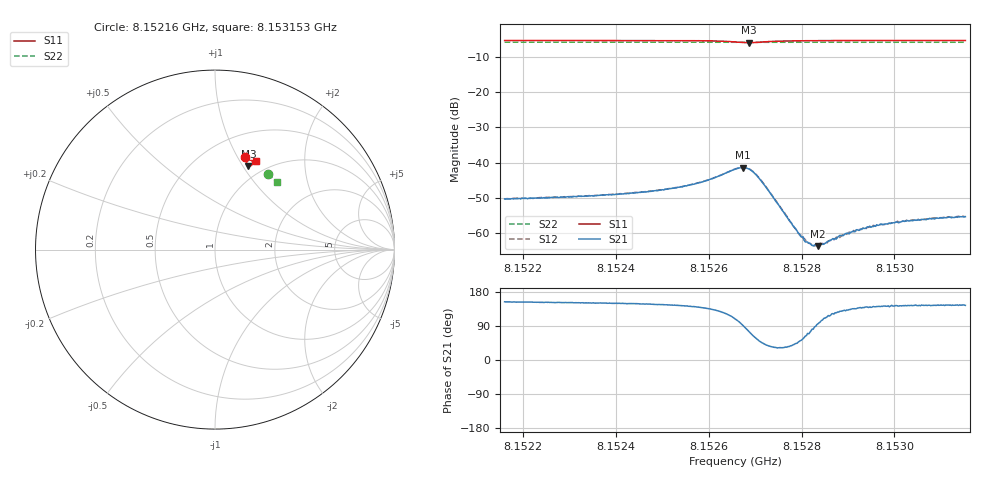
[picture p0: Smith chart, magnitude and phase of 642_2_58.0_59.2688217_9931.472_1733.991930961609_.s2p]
#  HZ  S  RI  R  50.00
! Rohde & Schwarz Vector Network Analyzer
! Rohde-Schwarz,ZNB20-2Port,1311601062101988,3.16
! Created: UTC 3/21/2024, 1:19:05 AM
! freq[Hz]  re:S11  im:S11  re:S21  im:S21  re:S12  im:S12  re:S22  im:S22
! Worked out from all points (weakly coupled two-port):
!   401 points, 8.15216 GHz to 8.153153 GHz, reference 50 ohm
!   highest |S21| = -41.41 dB at 8.152674 GHz (marker M1); lowest = -63.7 dB at 8.152835 GHz (marker M2)
!   lowest |S11| = -6.0 dB at 8.152686 GHz (marker M3), VSWR 3.02, Z = 42.5 + j53 ohm
!   |S11| at or under -10 dB: nowhere
!   |S22| runs from -5.9 to -5.8 dB; largest |S21 - S12| = 0.00017
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8.1521603e9  0.168 0.5138  -0.00273 0.00136  -0.0027 0.00142  0.2948 0.4184
8.1523265e9  0.1805 0.5097  -0.00291 0.00161  -0.0029 0.00168  0.3033 0.4121
8.1524159e9  0.1875 0.5069  -0.00309 0.00184  -0.00308 0.00189  0.3078 0.4085
8.1524928e9  0.1942 0.5037  -0.00338 0.00221  -0.00339 0.00231  0.3118 0.4054
8.1525449e9  0.1997 0.5004  -0.00367 0.00276  -0.00364 0.00284  0.3143 0.4033
8.1525846e9  0.2045 0.4959  -0.00394 0.00351  -0.00394 0.00363  0.3163 0.4015
8.1526565e9  0.2067 0.473  -0.00262 0.00761  -0.00255 0.00768  0.3195 0.3978
8.1526739e9  0.1966 0.4659  -0.000129 0.0085  -4.24e-05 0.00858  0.3199 0.3971
8.1526863e9  0.1861 0.4667  0.00204 0.00787  0.0021 0.00788  0.32 0.3968
8.1526987e9  0.1782 0.4733  0.00346 0.00613  0.00363 0.00619  0.3203 0.3966
8.1527161e9  0.1758 0.4849  0.00368 0.00364  0.0038 0.00365  0.3213 0.3964
8.152798e9  0.1935 0.5004  0.00056 0.000697  0.000618 0.00071  0.326 0.3935
8.1528104e9  0.1955 0.5005  0.000323 0.000673  0.000332 0.000678  0.3265 0.3929
8.1528228e9  0.1971 0.5005  9.74e-05 0.00066  0.000103 0.000654  0.3273 0.3924
8.1528352e9  0.1989 0.5005  -6.11e-05 0.000649  -6.62e-05 0.000667  0.3279 0.3918
8.1528501e9  0.2007 0.5003  -0.00025 0.000667  -0.000261 0.000669  0.3287 0.3913
8.1528823e9  0.2044 0.4997  -0.00058 0.000724  -0.000547 0.000671  0.3303 0.3898
8.1529146e9  0.2076 0.4988  -0.000742 0.00073  -0.000748 0.000749  0.3318 0.3884
8.1529667e9  0.2121 0.4975  -0.00102 0.000804  -0.00101 0.000841  0.3344 0.3862
8.152989e9  0.214 0.4968  -0.00107 0.00088  -0.00109 0.000841  0.3354 0.3853
8.1530858e9  0.2214 0.4941  -0.00128 0.000919  -0.00134 0.000964  0.34 0.3811
8.1531528e9  0.2263 0.4922  -0.00139 0.001  -0.00137 0.00101  0.3431 0.3782
